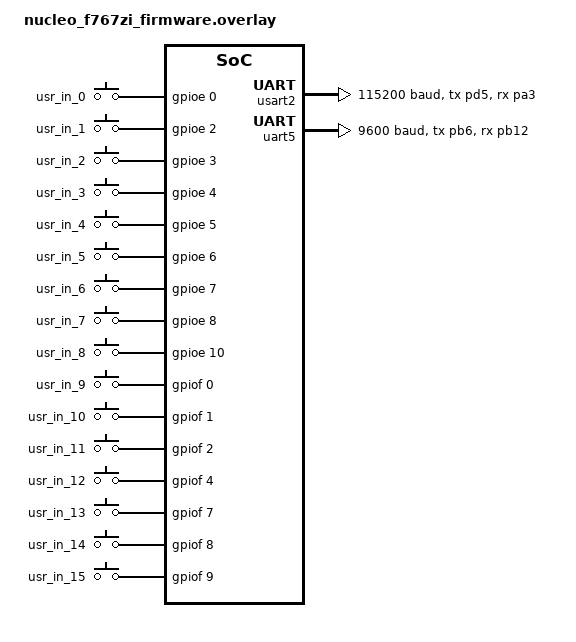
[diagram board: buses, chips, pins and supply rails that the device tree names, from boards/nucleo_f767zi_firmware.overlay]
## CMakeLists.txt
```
cmake_minimum_required(VERSION 3.20.0)

# Kconfig options
set(KCONFIG_ROOT "${CMAKE_CURRENT_SOURCE_DIR}/Kconfig")

# Device tree overlay file
set(DTC_OVERLAY_FILE "${CMAKE_CURRENT_SOURCE_DIR}/boards/nucleo_f767zi_firmware.overlay"
    "${CMAKE_CURRENT_SOURCE_DIR}/boards/nucleo_f767zi_ws2812_pwm.overlay")

# Declare project
find_package(Zephyr REQUIRED HINTS $ENV{ZEPHYR_BASE})
project(remote_io_zephyr)

target_include_directories(app PRIVATE 
    ${CMAKE_CURRENT_SOURCE_DIR}/src/inc
    ${CMAKE_CURRENT_SOURCE_DIR}/src/mender
    )

# Sources
zephyr_library_sources_ifdef(CONFIG_REMOTEIO_USE_MY_WS28XX
    src/ws28xx_pwm.c)
zephyr_library_sources_ifndef(CONFIG_REMOTEIO_USE_MY_WS28XX
    src/ws28xx_led.c)
file(GLOB_RECURSE app_sources src/*.c)
target_sources(app PRIVATE ${app_sources})

# Generate Root CA include files
# generate_inc_file_for_target(app "src/inc/AmazonRootCA1.cer" "${ZEPHYR_BINARY_DIR}/include/generated/AmazonRootCA1.cer.inc")
generate_inc_file_for_target(app "src/inc/Go-Daddy-Root-Certificate-Authority-G2.crt" "${ZEPHYR_BINARY_DIR}/include/generated/mender_server_ca.crt.inc")
generate_inc_file_for_target(app "src/inc/gts-root-r4.pem" "${ZEPHYR_BINARY_DIR}/include/generated/gts-root-r4.pem.inc")

if (CONFIG_MENDER_MCU_CLIENT)
    zephyr_library_compile_definitions(-D_POSIX_C_SOURCE=200809L)  # Required for strdup and strtok_r support
endif() # CONFIG_MENDER_MCU_CLIENT

# Generate cmake_config.h file with project-specific settings which can be included in the source code
configure_file(
    ${CMAKE_CURRENT_SOURCE_DIR}/src/inc/cmake_config.h.in
    ${ZEPHYR_BINARY_DIR}/include/generated/zephyr/cmake_config.h
)

# Generate build_artifact.sh from build_artifact.sh.in
configure_file(
    build_artifact.sh.in
    ${CMAKE_CURRENT_SOURCE_DIR}/build_artifact.sh
    @ONLY
)
```

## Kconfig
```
mainmenu "Remote I/O Config"

    config REMOTEIO_MINIMAL_STACK_SIZE
        int "Remote I/O minimal stack size"
        range 0 1024
        default 128
        help
            Minimal stack size for the Remote I/O task.
            This is the minimum stack size required for the task to run.
            The actual stack size may be larger depending on the task's requirements.
    
    config REMOTEIO_SERVICE_STACK_SIZE
        int "Remote I/O service stack size"
        range 0 2048
        default 256
        help
            Stack size for the Remote I/O service task.
            This is the stack size required for the task to run.
            The actual stack size may be larger depending on the task's requirements.

    config REMOTEIO_SERVICE_PRIORITY
        int "Remote I/O service task priority"
        default 7
        help
            Priority of the Remote I/O service task.
            The lower the number, the higher the priority.
            The actual priority may be affected by other tasks in the system.

    config REMOTEIO_USE_MY_WS28XX
        bool "Use my WS28XX"
        default n
        depends on LED_STRIP
        select USE_STM32_HAL_TIM
        select USE_STM32_HAL_GPIO
        select USE_STM32_HAL_DMA
        help
            Use my WS28XX library for controlling the WS28XX LED strip.
            If not selected, the default WS28XX library will be used.

    config REMOTEIO_MENDER_ARTIFACT_NAME
        string "define mender artifact name"
        default "remote-io"
        help
            Define the Mender Artifact name for Mender client to query for
            if there are any update regarding the specified artifact name.
        
source "Kconfig.zephyr"
rsource "src/mender/Kconfig"
```

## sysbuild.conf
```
# Sysbuild configuration file

SB_CONFIG_BOOTLOADER_MCUBOOT=y
```

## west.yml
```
manifest:
  projects:
    - name: mender-mcu
      url: https://github.com/mendersoftware/mender-mcu
      revision: main
      path: modules/mender-mcu
      import: true
    - name: ws2812-pwm
      url: https://github.com/haymanmk/ws2812-pwm.git
      revision: 5186892508e424ddec8d3359c0e99aadf89a0a91
      path: modules/ws2812-pwm
      import: true
```

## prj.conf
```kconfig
# Mender MCU client
CONFIG_MENDER_MCU_CLIENT=y
CONFIG_MENDER_DEPLOYMENT_LOGS=n
CONFIG_MENDER_SCHEDULER_WORK_QUEUE_STACK_SIZE=12
# Please note that the priority of Mender scheduler work queue should be lower (numerically higher) than
# the priority of socket service work queue, which is used to handle network events.
# Otherwise, the throughput of API calls may be significantly reduced.
CONFIG_MENDER_SCHEDULER_WORK_QUEUE_PRIORITY=7
CONFIG_MENDER_CLIENT_UPDATE_POLL_INTERVAL=3
CONFIG_MENDER_CLIENT_NO_DEPLOYMENT_MAX_COUNT=1
# Default Inventory refresh interval is 14 days.
CONFIG_MENDER_CLIENT_INVENTORY_REFRESH_INTERVAL=600
CONFIG_MENDER_RETRY_ERROR_BACKOFF=5
# CONFIG_MENDER_RETRY_ERROR_MAX_BACKOFF=15
CONFIG_MENDER_ARTIFACT_GENERATE=n
# CONFIG_MENDER_SERVER_TENANT_TOKEN="5T54LWieqKE4N24f5thlFlfsY1pNrIIlWlEYbrhoeog"
CONFIG_MENDER_SERVER_TENANT_TOKEN="BUFCZV-mnZEcVMzhSaueDpTIQCg1ZbD8W2huFCZpalo"
CONFIG_MENDER_PLATFORM_STORAGE_TYPE_WEAK=y
CONFIG_MENDER_SERVER_HOST_ON_PREM=y
CONFIG_MENDER_SERVER_HOST="https://pi-mender-stage.garmin.com"
# CONFIG_MENDER_SERVER_HOST="https://pek8s-staging.garmin.com"
CONFIG_USER_MENDER_ARTIFACT_NAME="mender-artifact"
CONFIG_LOG_OUTPUT_FORMAT_ISO8601_TIMESTAMP=y

# Required to get Device Troubleshoot add-on working
CONFIG_ZVFS_OPEN_MAX=18

# General
CONFIG_EVENTS=y
CONFIG_MAIN_STACK_SIZE=2048
# Heap memory pool is used for dynamic memory allocation such as dynamic threads
# CONFIG_HEAP_MEM_POOL_SIZE=5120
# CONFIG_SYSTEM_WORKQUEUE_STACK_SIZE=13312
CONFIG_PICOLIBC=y
CONFIG_GPIO=y
CONFIG_POSIX_API=y
CONFIG_REMOTEIO_SERVICE_STACK_SIZE=2048
CONFIG_REMOTEIO_SERVICE_PRIORITY=5
# Dynamic thread
# CONFIG_DYNAMIC_THREAD=y
# CONFIG_DYNAMIC_THREAD_POOL_SIZE=2
# CONFIG_DYNAMIC_THREAD_ALLOC=y

# Backup SRAM
# CONFIG_STM32_BACKUP_SRAM=y

# Networking
CONFIG_NETWORKING=y
CONFIG_NET_TCP=y
CONFIG_NET_IPV6=n
CONFIG_NET_IPV4=y
CONFIG_NET_DHCPV4=n
CONFIG_NET_SHELL=n
CONFIG_NET_MGMT=y
CONFIG_NET_MGMT_EVENT=y
CONFIG_NET_MGMT_EVENT_THREAD=y
CONFIG_NET_MGMT_EVENT_STACK_SIZE=2048
CONFIG_NET_SOCKETS_SOCKOPT_TLS=y
CONFIG_NET_SOCKETS_TLS_MAX_CONTEXTS=8
CONFIG_NET_SOCKETS_SERVICE_STACK_SIZE=2048
# The priority of socket service thread should be higher (numerically lower) than the priority of Mender scheduler work queue,
# which is used to handle Mender client state machine. Otherwise, the throughput of API calls may be significantly reduced.
CONFIG_NET_SOCKETS_SERVICE_THREAD_PRIO=6
CONFIG_NET_MAX_CONN=16
# enlarge RX stack size to avoid stack overflow during calling zsock_accept()
CONFIG_NET_RX_STACK_SIZE=2048
# CONFIG_NET_TX_STACK_SIZE=2400
CONFIG_NET_TCP_WORKQ_STACK_SIZE=2048
# CONFIG_NET_MAX_CONTEXTS=6
CONFIG_NET_SOCKETS_CONNECT_TIMEOUT=60000
# CONFIG_NET_TCP_RECV_QUEUE_TIMEOUT=2000
CONFIG_NET_TCP_KEEPALIVE=y

# Network buffer
CONFIG_NET_PKT_RX_COUNT=16
CONFIG_NET_PKT_TX_COUNT=16
CONFIG_NET_BUF_RX_COUNT=128
CONFIG_NET_BUF_TX_COUNT=128

# Sockets
CONFIG_NET_SOCKETS=y
CONFIG_ZVFS_POLL_MAX=9

# DNS
CONFIG_DNS_RESOLVER=y
CONFIG_DNS_RESOLVER_ADDITIONAL_BUF_CTR=5
CONFIG_DNS_RESOLVER_ADDITIONAL_QUERIES=2
CONFIG_DNS_RESOLVER_MAX_SERVERS=2
CONFIG_DNS_NUM_CONCUR_QUERIES=5
CONFIG_DNS_SERVER_IP_ADDRESSES=y
CONFIG_DNS_SERVER1="10.124.2.23"

# PSA - Platform Security Architecture
CONFIG_PSA_WANT_KEY_TYPE_ECC_PUBLIC_KEY=y
CONFIG_PSA_WANT_ALG_ECDH=y
CONFIG_PSA_WANT_ALG_ECDSA=y
CONFIG_PSA_WANT_KEY_TYPE_ECC_KEY_PAIR_IMPORT=y
CONFIG_PSA_WANT_KEY_TYPE_ECC_KEY_PAIR_EXPORT=y
CONFIG_PSA_WANT_KEY_TYPE_ECC_KEY_PAIR_GENERATE=y
CONFIG_PSA_WANT_KEY_TYPE_ECC_KEY_PAIR_DERIVE=y
# CONFIG_PSA_WANT_ALG_SHA_256=y
# CONFIG_PSA_WANT_ALG_SHA_384=y
CONFIG_PSA_WANT_KEY_TYPE_RSA_PUBLIC_KEY=y
CONFIG_PSA_WANT_ALG_RSA_PKCS1V15_SIGN=y
CONFIG_PSA_WANT_ALG_RSA_PKCS1V15_CRYPT=y

# mbedTLS
CONFIG_MBEDTLS=y
CONFIG_MBEDTLS_DEBUG=y
CONFIG_MBEDTLS_MEMORY_DEBUG=n
CONFIG_MBEDTLS_BUILTIN=y
CONFIG_MBEDTLS_ENABLE_HEAP=y
CONFIG_MBEDTLS_HEAP_SIZE=100000
# CONFIG_MBEDTLS_CFG_FILE="config-tls-generic.h"
CONFIG_MBEDTLS_ECDH_C=y
CONFIG_MBEDTLS_ECDSA_C=y
CONFIG_MBEDTLS_ECP_C=y
CONFIG_MBEDTLS_ECP_DP_SECP256R1_ENABLED=y
CONFIG_MBEDTLS_ECP_DP_SECP384R1_ENABLED=y
CONFIG_MBEDTLS_GENPRIME_ENABLED=y
CONFIG_MBEDTLS_CIPHER_AES_ENABLED=y
CONFIG_MBEDTLS_CIPHER_CCM_ENABLED=y
CONFIG_MBEDTLS_CIPHER_GCM_ENABLED=y
# CONFIG_MBEDTLS_SSL_TLS1_2_CAN_ECDH=y
# CONFIG_MBEDTLS_CAN_ECDH=y
# CONFIG_MBEDTLS_X509_CRT_PARSE_C=y
CONFIG_MBEDTLS_PKCS1_V15=y
CONFIG_MBEDTLS_RSA_C=y
# CONFIG_MBEDTLS_PSA_CRYPTO_C=y
CONFIG_MBEDTLS_USE_PSA_CRYPTO=y
CONFIG_PSA_WANT_ALG_TLS12_PRF=y
# CONFIG_MBEDTLS_PK_CAN_ECDSA_SIGN=y
# CONFIG_MBEDTLS_KEY_EXCHANGE_ALL_ENABLED=y
CONFIG_MBEDTLS_KEY_EXCHANGE_ECDHE_PSK_ENABLED=y
CONFIG_MBEDTLS_KEY_EXCHANGE_ECDHE_RSA_ENABLED=y
CONFIG_MBEDTLS_KEY_EXCHANGE_ECDHE_ECDSA_ENABLED=y
CONFIG_MBEDTLS_KEY_EXCHANGE_RSA_ENABLED=y
CONFIG_MBEDTLS_PEM_CERTIFICATE_FORMAT=y
CONFIG_MBEDTLS_PK_WRITE_C=y
CONFIG_MBEDTLS_SHA256=y
CONFIG_MBEDTLS_SHA384=y
CONFIG_MBEDTLS_ENTROPY_C=y
CONFIG_MBEDTLS_ENTROPY_POLL_ZEPHYR=y
CONFIG_MBEDTLS_SSL_MAX_CONTENT_LEN=16384
CONFIG_MBEDTLS_SERVER_NAME_INDICATION=y

# MCUboot
CONFIG_BOOTLOADER_MCUBOOT=y
CONFIG_MCUBOOT_SIGNATURE_KEY_FILE="bootloader/mcuboot/root-rsa-2048.pem"

# Logging
CONFIG_LOG=y
CONFIG_NET_LOG=y
CONFIG_NET_SOCKETS_LOG_LEVEL_DBG=n
CONFIG_NET_CONTEXT_LOG_LEVEL_DBG=n
CONFIG_NET_TCP_LOG_LEVEL_DBG=n
CONFIG_NET_HTTP_LOG_LEVEL_DBG=n
CONFIG_MBEDTLS_LOG_LEVEL_DBG=n
CONFIG_MENDER_LOG_LEVEL_DBG=y
CONFIG_LOG_MODE_IMMEDIATE=y
# CONFIG_LOG_PROCESS_THREAD_STACK_SIZE=2048
CONFIG_USE_SEGGER_RTT=y
CONFIG_RTT_CONSOLE=y
CONFIG_UART_CONSOLE=n
CONFIG_LOG_BACKEND_RTT=y
CONFIG_LOG_BACKEND_UART=n

# Debugging
CONFIG_DEBUG_OPTIMIZATIONS=y

# Thread
CONFIG_THREAD_MONITOR=y
CONFIG_THREAD_NAME=y
CONFIG_THREAD_ANALYZER=y
CONFIG_THREAD_ANALYZER_AUTO_SEPARATE_CORES=n

# Flash, Storage
CONFIG_FLASH=y
CONFIG_FLASH_MAP=y

# UART
CONFIG_SERIAL=y
CONFIG_UART_INTERRUPT_DRIVEN=y

# LED Strip
CONFIG_LED_STRIP=y
CONFIG_LED_STRIP_LOG_LEVEL_DBG=y
CONFIG_REMOTEIO_USE_MY_WS28XX=n
# CONFIG_WS2812_PWM=y

# DMA
CONFIG_WS2812_PWM_LOG_LEVEL_DBG=n

# Let's prevent surprises caused by type mismatches and other similar things
# only causing compilation warnings, but potentially leading to fatal issues.
CONFIG_COMPILER_WARNINGS_AS_ERRORS=y
```

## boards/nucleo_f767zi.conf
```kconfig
CONFIG_SPI_STM32_DMA=n
```

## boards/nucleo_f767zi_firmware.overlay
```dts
#include <zephyr/dt-bindings/input/input-event-codes.h>
#include <zephyr/dt-bindings/gpio/gpio.h>

/ {
    chosen {
        zephyr,code-partition = &slot0_partition;
    };

    user_inputs {
        compatible = "gpio-keys";
        usr_in_0: user_input_0 {
            gpios = <&gpioe 0 (GPIO_PULL_UP | GPIO_ACTIVE_HIGH)>;
        };
        usr_in_1: user_input_1 {
            gpios = <&gpioe 2 (GPIO_PULL_UP | GPIO_ACTIVE_HIGH)>;
        };
        usr_in_2: user_input_2 {
            gpios = <&gpioe 3 (GPIO_PULL_UP | GPIO_ACTIVE_HIGH)>;
        };
        usr_in_3: user_input_3 {
            gpios = <&gpioe 4 (GPIO_PULL_UP | GPIO_ACTIVE_HIGH)>;
        };
        usr_in_4: user_input_4 {
            gpios = <&gpioe 5 (GPIO_PULL_UP | GPIO_ACTIVE_HIGH)>;
        };
        usr_in_5: user_input_5 {
            gpios = <&gpioe 6 (GPIO_PULL_UP | GPIO_ACTIVE_HIGH)>;
        };
        usr_in_6: user_input_6 {
            gpios = <&gpioe 7 (GPIO_PULL_UP | GPIO_ACTIVE_HIGH)>;
        };
        usr_in_7: user_input_7 {
            gpios = <&gpioe 8 (GPIO_PULL_UP | GPIO_ACTIVE_HIGH)>;
        };
        usr_in_8: user_input_8 {
            gpios = <&gpioe 10 (GPIO_PULL_UP | GPIO_ACTIVE_HIGH)>;
        };
        usr_in_9: user_input_9 {
            gpios = <&gpiof 0 (GPIO_PULL_UP | GPIO_ACTIVE_HIGH)>;
        };
        usr_in_10: user_input_10 {
            gpios = <&gpiof 1 (GPIO_PULL_UP | GPIO_ACTIVE_HIGH)>;
        };
        usr_in_11: user_input_11 {
            gpios = <&gpiof 2 (GPIO_PULL_UP | GPIO_ACTIVE_HIGH)>;
        };
        usr_in_12: user_input_12 {
            gpios = <&gpiof 4 (GPIO_PULL_UP | GPIO_ACTIVE_HIGH)>;
        };
        usr_in_13: user_input_13 {
            gpios = <&gpiof 7 (GPIO_PULL_UP | GPIO_ACTIVE_HIGH)>;
        };
        usr_in_14: user_input_14 {
            gpios = <&gpiof 8 (GPIO_PULL_UP | GPIO_ACTIVE_HIGH)>;
        };
        usr_in_15: user_input_15 {
            gpios = <&gpiof 9 (GPIO_PULL_UP | GPIO_ACTIVE_HIGH)>;
        };
    };

    user_outputs {
        compatible = "gpio-outputs";
        usr_out_0: user_output_0 {
            gpios = <&gpioc 7 (GPIO_ACTIVE_HIGH | GPIO_OPEN_DRAIN)>;
        };
        usr_out_1: user_output_1 {
            gpios = <&gpioc 8 (GPIO_ACTIVE_HIGH | GPIO_OPEN_DRAIN)>;
        };
        usr_out_2: user_output_2 {
            gpios = <&gpioc 9 (GPIO_ACTIVE_HIGH | GPIO_OPEN_DRAIN)>;
        };
        usr_out_3: user_output_3 {
            gpios = <&gpioc 10 (GPIO_ACTIVE_HIGH | GPIO_OPEN_DRAIN)>;
        };
        usr_out_4: user_output_4 {
            gpios = <&gpioc 11 (GPIO_ACTIVE_HIGH | GPIO_OPEN_DRAIN)>;
        };
        usr_out_5: user_output_5 {
            gpios = <&gpioc 12 (GPIO_ACTIVE_HIGH | GPIO_OPEN_DRAIN)>;
        };
        usr_out_6: user_output_6 {
            gpios = <&gpiod 0 (GPIO_ACTIVE_HIGH | GPIO_OPEN_DRAIN)>;
        };
        usr_out_7: user_output_7 {
            gpios = <&gpiod 1 (GPIO_ACTIVE_HIGH | GPIO_OPEN_DRAIN)>;
        };
        usr_out_8: user_output_8 {
            gpios = <&gpiod 2 (GPIO_ACTIVE_HIGH | GPIO_OPEN_DRAIN)>;
        };
        usr_out_9: user_output_9 {
            gpios = <&gpiod 3 (GPIO_ACTIVE_HIGH | GPIO_OPEN_DRAIN)>;
        };
        usr_out_10: user_output_10 {
            gpios = <&gpiod 4 (GPIO_ACTIVE_HIGH | GPIO_OPEN_DRAIN)>;
        };
        usr_out_11: user_output_11 {
            gpios = <&gpiod 6 (GPIO_ACTIVE_HIGH | GPIO_OPEN_DRAIN)>;
        };
        usr_out_12: user_output_12 {
            gpios = <&gpiod 7 (GPIO_ACTIVE_HIGH | GPIO_OPEN_DRAIN)>;
        };
        usr_out_13: user_output_13 {
            gpios = <&gpiod 11 (GPIO_ACTIVE_HIGH | GPIO_OPEN_DRAIN)>;
        };
        usr_out_14: user_output_14 {
            gpios = <&gpiod 12 (GPIO_ACTIVE_HIGH | GPIO_OPEN_DRAIN)>;
        };
        usr_out_15: user_output_15 {
            gpios = <&gpiod 13 (GPIO_ACTIVE_HIGH | GPIO_OPEN_DRAIN)>;
        };
        usr_dbg: user_dbg {
            gpios = <&gpiob 8 (GPIO_ACTIVE_HIGH | GPIO_PUSH_PULL)>;
        };
    };
};

&flash0 {
    partitions {
        compatible = "fixed-partitions";

        storage_partition_0: partition@10000 {
            label = "storage-0";
            reg = <0x00010000 DT_SIZE_K(32)>;
        };

        storage_partition_1: partition@18000 {
            label = "storage-1";
            reg = <0x00018000 DT_SIZE_K(32)>;
        };
    };
};

/* uart */
&usart2 {
    pinctrl-0 = <&usart2_tx_pd5 &usart2_rx_pa3>;
    pinctrl-names = "default";
    current-speed = <115200>;
    /* interrupts = <37 5>; */
    status = "okay";
};

&uart5 {
    pinctrl-0 = <&uart5_tx_pb6 &uart5_rx_pb12>;
    pinctrl-names = "default";
    current-speed = <9600>;
    /* interrupts = <38 5>; */
    status = "okay";
};

/* Ethernet priority */
/* &mac {
    interrupts = < 0x3d 0x5 >;
}; */
```

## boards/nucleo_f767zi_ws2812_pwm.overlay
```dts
#include <zephyr/dt-bindings/led/led.h>
#include <zephyr/dt-bindings/pwm/pwm.h>
#include <zephyr/dt-bindings/dma/stm32_dma.h>

&dma1 {
    compatible = "st,stm32-dma-v1";
    status = "okay";
};

&tim3_ch1_pa6 {
    bias-pull-down;
};

&timers3 {
    status = "okay";
    pwm_tim3: pwm {
        pinctrl-0 = <&tim3_ch1_pa6>;
        pinctrl-names = "default";
        status = "okay";
    };
};

/ {
    led_strip: ws2812 {
        compatible = "worldsemi,ws2812-pwm";
        chain-length = <25>;
        color-mapping = <LED_COLOR_ID_GREEN
                        LED_COLOR_ID_RED
                        LED_COLOR_ID_BLUE>;
        dmas = <&dma1 4 5
                (STM32_DMA_MEMORY_TO_PERIPH | STM32_DMA_MEM_INC | STM32_DMA_PERIPH_32BITS | STM32_DMA_MEM_32BITS | STM32_DMA_PRIORITY_VERY_HIGH)
                STM32_DMA_FIFO_FULL>;
        dma-names = "tim3-dma";
        pwms = <&pwm_tim3 1 1250 (PWM_POLARITY_NORMAL)>;
        reset-delay = <50>;
        delay-t1h = <800>;
        delay-t1l = <450>;
        delay-t0h = <400>;
        delay-t0l = <850>;
    };
};
```

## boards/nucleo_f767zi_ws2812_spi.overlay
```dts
#include <zephyr/dt-bindings/led/led.h>

&spi1 {
    pinctrl-0 = <&spi1_sck_pa5 &spi1_miso_pa6 &spi1_mosi_pb5>;
};

&arduino_spi {
    led_strip: ws2812@0 {
        compatible = "worldsemi,ws2812-spi";

        /* SPI */
        reg = <0>;
        spi-max-frequency = <4000000>;
        frame-format = <32768>; /* SPI_FRAME_FORMAT_TI */

        /* WS2812 */
        chain-length = <25>;
        spi-one-frame = <0x70>;
        spi-zero-frame = <0x40>;
        reset-delay = <50>; /* microseconds */
        color-mapping = <LED_COLOR_ID_GREEN
                        LED_COLOR_ID_RED
                        LED_COLOR_ID_BLUE>;
    };
};
```

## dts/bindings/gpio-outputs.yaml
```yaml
description: |
  GPIO outputs are used to control devices such as LEDs, relays, and other
  peripherals. The GPIO output driver is responsible for configuring the GPIO
  pins as outputs and controlling their state (high or low).

  For example:
  / {
      user_outputs: gpio-outputs {
          compatible = "gpio-outputs";
          usr_output_0 {
              label = "LED1";
              gpios = <&gpio0 0 GPIO_ACTIVE_HIGH>;
          };
    };

compatible: "gpio-outputs"

child-binding:
  description: GPIO output child node
  properties:
    gpios:
      type: phandle-array
      required: true

    label:
      type: string
      description: Descriptive name of the GPIO output.
      default: "GPIO output"
```

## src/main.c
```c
#include <app_version.h>
#include <zephyr/logging/log.h>
#include <zephyr/logging/log_ctrl.h>
#include <zephyr/sys/reboot.h>
LOG_MODULE_REGISTER(main, LOG_LEVEL_DBG);

#include "ethernet_if.h"
#include "digital_input.h"
#include "digital_output.h"
#include "flash.h"
#include "settings.h"
#include "uart.h"
#ifndef CONFIG_REMOTEIO_USE_MY_WS28XX
    #include "ws28xx_led.h"
#else
    #include "ws28xx_pwm.h"
#endif

int main(void) {
    // print current version
    LOG_INF("RemoteIO STM32F7xx - Version: %s", APP_VERSION_EXTENDED_STRING);

    // initialize flash memory
    flash_init();

    // initialize settings
    settings_init();

    // initialize digital input
    digital_input_init();

    // initialize digital output
    digital_output_init();

    // initialize UART
    uart_init();

    // initialize WS28XX GPIO
    ws28xx_led_init();

    tcp_server_init();

    return 0;
}

/**
 * @brief Fetal error handler
 * @param reason Reason for the fatal error
 * @param esf    Exception context. May be NULL.
 * @return This function does not return
 */
void k_sys_fatal_error_handler(unsigned int reason, const struct arch_esf *esf) {
    LOG_ERR("Fatal error occurred! reason: %u, esf: %p", reason, esf);
    LOG_ERR("System will reboot now.");
    LOG_PANIC();
    sys_reboot(SYS_REBOOT_WARM);
    while (1) {
        /* Wait for reboot */
    }
}
```

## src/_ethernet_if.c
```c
#include <stdio.h>
#include "stm32f7xx_remote_io.h"

#define BUFFER_SIZE 512
#define CONNECTION_CREATED_MSK 1

extern NetworkInterface_t *pxSTM32Fxx_FillInterfaceDescriptor(BaseType_t xEMACIndex,
                                                              NetworkInterface_t *pxInterface);
void ethernetif_task(void *pvParameters);
static void prvCreateTCPServerSocketTasks(void *pvParameters);
static void prvProcessRxTask(void *pvParameters);
static void prvProcessTxTask(void *pvParameters);
static void prvBlinkLED(void *pvParameters);

NetworkInterface_t xInterfaces[1];
struct xNetworkEndPoint xEndPoints[1];
uint8_t socketShutdownTimeout = 0;
TaskHandle_t createServerSocketTaskHandle;
static TaskHandle_t processRxTaskHandle;
TaskHandle_t processTxTaskHandle;
extern TaskHandle_t apiTaskHandle;
static SemaphoreHandle_t connectionCreatedSemaphoreHandle;
SemaphoreHandle_t deleteTaskSemaphoreHandle;
static uint16_t listeningPort = 0;

void tcp_server_init()
{
    // create an one-time task to create the TCP server socket
    xTaskCreate(ethernetif_task, "EthernetIF", configMINIMAL_STACK_SIZE, NULL, tskIDLE_PRIORITY, NULL);
}

void ethernetif_task(void *pvParameters)
{
    /* Initialize Semaphore handler to protect the critical section of
       safely shutting down connection */
    connectionCreatedSemaphoreHandle = xSemaphoreCreateBinary();

    /* Initialise the interface descriptor for WinPCap for example. */
    pxSTM32Fxx_FillInterfaceDescriptor(0, &(xInterfaces[0]));

    uint8_t IPAddr[4] = {
        settings.ip_address_0,
        settings.ip_address_1,
        settings.ip_address_2,
        settings.ip_address_3};
    uint8_t GatewayAddr[4] = {
        settings.gateway_0,
        settings.gateway_1,
        settings.gateway_2,
        settings.gateway_3};
    uint8_t NetMask[4] = {
        settings.netmask_0,
        settings.netmask_1,
        settings.netmask_2,
        settings.netmask_3};
    listeningPort = LISTENING_PORT + settings.tcp_port;
    MACAddr[0] = settings.mac_address_0;
    MACAddr[1] = settings.mac_address_1;
    MACAddr[2] = settings.mac_address_2;
    MACAddr[3] = settings.mac_address_3;
    MACAddr[4] = settings.mac_address_4;
    MACAddr[5] = settings.mac_address_5;

    // check if USER Button is continuously pressed over 5 seconds,
    // then use the default IP address and port
    if (HAL_GPIO_ReadPin(USER_Btn_GPIO_Port, USER_Btn_Pin) == GPIO_PIN_SET)
    {
        // wait for 5 seconds
        vTaskDelay(pdMS_TO_TICKS(5000));

        // check if USER Button is still pressed
        if (HAL_GPIO_ReadPin(USER_Btn_GPIO_Port, USER_Btn_Pin) == GPIO_PIN_SET)
        {
            // use the default IP address and port
            IPAddr[0] = 172;
            IPAddr[1] = 16;
            IPAddr[2] = 0;
            IPAddr[3] = 10;

            GatewayAddr[0] = 172;
            GatewayAddr[1] = 16;
            GatewayAddr[2] = 0;
            GatewayAddr[3] = 1;

            NetMask[0] = 255;
            NetMask[1] = 240;
            NetMask[2] = 0;
            NetMask[3] = 0;

            listeningPort = LISTENING_PORT;

            // start the LED blinking task
            xTaskCreate(prvBlinkLED, "BlinkLED", configMINIMAL_STACK_SIZE, NULL, tskIDLE_PRIORITY, NULL);
        }
    }

    FreeRTOS_FillEndPoint(&(xInterfaces[0]), &(xEndPoints[0]), IPAddr,
                          NetMask, GatewayAddr, DNSAddr, MACAddr);
#if (ipconfigUSE_DHCP != 0)
    {
        /* End-point 0 wants to use DHCPv4. */
        xEndPoints[0].bits.bWantDHCP = pdTRUE;
    }
#endif /* ( ipconfigUSE_DHCP != 0 ) */

    /* Initialise the RTOS's TCP/IP stack.  The tasks that use the network
       are created in the vApplicationIPNetworkEventHook() hook function
       below.  The hook function is called when the network connects. */
    FreeRTOS_IPInit_Multi();

    // kill the task
    vTaskDelete(NULL);
}

/**
 * @brief  Initializes the ETH MSP.
 * @param  ethHandle: ETH handle
 * @retval None
 */

void HAL_ETH_MspInit(ETH_HandleTypeDef *ethHandle)
{
    GPIO_InitTypeDef GPIO_InitStruct = {0};
    if (ethHandle->Instance == ETH)
    {
        /* USER CODE BEGIN ETH_MspInit 0 */

        /* USER CODE END ETH_MspInit 0 */
        /* Enable Peripheral clock */
        __HAL_RCC_ETH_CLK_ENABLE();

        __HAL_RCC_GPIOC_CLK_ENABLE();
        __HAL_RCC_GPIOA_CLK_ENABLE();
        __HAL_RCC_GPIOB_CLK_ENABLE();
        __HAL_RCC_GPIOG_CLK_ENABLE();
        /**ETH GPIO Configuration
        PC1     ------> ETH_MDC
        PA1     ------> ETH_REF_CLK
        PA2     ------> ETH_MDIO
        PA7     ------> ETH_CRS_DV
        PC4     ------> ETH_RXD0
        PC5     ------> ETH_RXD1
        PB13     ------> ETH_TXD1
        PG11     ------> ETH_TX_EN
        PG13     ------> ETH_TXD0
        */
        GPIO_InitStruct.Pin = RMII_MDC_Pin | RMII_RXD0_Pin | RMII_RXD1_Pin;
        GPIO_InitStruct.Mode = GPIO_MODE_AF_PP;
        GPIO_InitStruct.Pull = GPIO_NOPULL;
        GPIO_InitStruct.Speed = GPIO_SPEED_FREQ_VERY_HIGH;
        GPIO_InitStruct.Alternate = GPIO_AF11_ETH;
        HAL_GPIO_Init(GPIOC, &GPIO_InitStruct);

        GPIO_InitStruct.Pin = RMII_REF_CLK_Pin | RMII_MDIO_Pin | RMII_CRS_DV_Pin;
        GPIO_InitStruct.Mode = GPIO_MODE_AF_PP;
        GPIO_InitStruct.Pull = GPIO_NOPULL;
        GPIO_InitStruct.Speed = GPIO_SPEED_FREQ_VERY_HIGH;
        GPIO_InitStruct.Alternate = GPIO_AF11_ETH;
        HAL_GPIO_Init(GPIOA, &GPIO_InitStruct);

        GPIO_InitStruct.Pin = RMII_TXD1_Pin;
        GPIO_InitStruct.Mode = GPIO_MODE_AF_PP;
        GPIO_InitStruct.Pull = GPIO_NOPULL;
        GPIO_InitStruct.Speed = GPIO_SPEED_FREQ_VERY_HIGH;
        GPIO_InitStruct.Alternate = GPIO_AF11_ETH;
        HAL_GPIO_Init(RMII_TXD1_GPIO_Port, &GPIO_InitStruct);

        GPIO_InitStruct.Pin = RMII_TX_EN_Pin | RMII_TXD0_Pin;
        GPIO_InitStruct.Mode = GPIO_MODE_AF_PP;
        GPIO_InitStruct.Pull = GPIO_NOPULL;
        GPIO_InitStruct.Speed = GPIO_SPEED_FREQ_VERY_HIGH;
        GPIO_InitStruct.Alternate = GPIO_AF11_ETH;
        HAL_GPIO_Init(GPIOG, &GPIO_InitStruct);

        /* ETH interrupt Init */
        HAL_NVIC_SetPriority(ETH_IRQn, 5, 0);
        HAL_NVIC_EnableIRQ(ETH_IRQn);
        HAL_NVIC_SetPriority(ETH_WKUP_IRQn, 5, 0);
        HAL_NVIC_EnableIRQ(ETH_WKUP_IRQn);

        /* USER CODE BEGIN ETH_MspInit 1 */

        /* USER CODE END ETH_MspInit 1 */
    }
}

void vApplicationIPNetworkEventHook_Multi(eIPCallbackEvent_t eNetworkEvent,
                                          struct xNetworkEndPoint *pxEndPoint)
{
    static BaseType_t xTasksAlreadyCreated = pdFALSE;

    /* Both eNetworkUp and eNetworkDown events can be processed here. */
    if (eNetworkEvent == eNetworkUp)
    {
        /* Create the tasks that use the TCP/IP stack if they have not already
        been created. */
        if (xTasksAlreadyCreated == pdFALSE)
        {
            /*
             * For convenience, tasks that use FreeRTOS-Plus-TCP can be created here
             * to ensure they are not created before the network is usable.
             */

            xTasksAlreadyCreated = pdTRUE;

            vStartSimpleTCPServerTasks(4 * configMINIMAL_STACK_SIZE, tskIDLE_PRIORITY);
        }
    }
    /* Print out the network configuration, which may have come from a DHCP
     * server. */
    // showEndPoint(pxEndPoint);
}

/* Called by FreeRTOS-Plus-TCP */
BaseType_t xApplicationGetRandomNumber(uint32_t *pulNumber)
{
    *pulNumber = HAL_GetTick();
    return pdTRUE;
}

uint32_t ulApplicationGetNextSequenceNumber(uint32_t ulSourceAddress,
                                            uint16_t usSourcePort,
                                            uint32_t ulDestinationAddress,
                                            uint16_t usDestinationPort)
{
    uint32_t pulNumber = 0;
    xApplicationGetRandomNumber(&pulNumber);
    return pulNumber;
}

/* Stores the stack size passed into vStartSimpleTCPServerTasks() so it can be
 * reused when the server listening task creates tasks to handle connections. */
static uint16_t usUsedStackSize = 0;

void vStartSimpleTCPServerTasks(uint16_t usStackSize, UBaseType_t uxPriority)
{
    xTaskCreate(prvCreateTCPServerSocketTasks, "TCPServerListener", usStackSize, NULL, uxPriority, &createServerSocketTaskHandle);

    /* Remember the requested stack size so it can be re-used by the server
     * listening task when it creates tasks to handle connections. */
    usUsedStackSize = usStackSize;
}

static void prvCreateTCPServerSocketTasks(void *pvParameters)
{
    struct freertos_sockaddr xClient, xBindAddress;
    Socket_t xListeningSocket, xConnectedSocket;
    socklen_t xSize = sizeof(xClient);
    static const TickType_t xReceiveTimeOut = portMAX_DELAY;
    const BaseType_t xBacklog = 1;

    /* Attempt to open the socket. */
    xListeningSocket = FreeRTOS_socket(FREERTOS_AF_INET4,    /* Or FREERTOS_AF_INET6 for IPv6. */
                                       FREERTOS_SOCK_STREAM, /* SOCK_STREAM for TCP. */
                                       FREERTOS_IPPROTO_TCP);

    /* Check the socket was created. */
    configASSERT(xListeningSocket != FREERTOS_INVALID_SOCKET);

    /* If FREERTOS_SO_RCVBUF or FREERTOS_SO_SNDBUF are to be used with
    FreeRTOS_setsockopt() to change the buffer sizes from their default then do
    it here!.  (see the FreeRTOS_setsockopt() documentation. */

    /* If ipconfigUSE_TCP_WIN is set to 1 and FREERTOS_SO_WIN_PROPERTIES is to
    be used with FreeRTOS_setsockopt() to change the sliding window size from
    its default then do it here! (see the FreeRTOS_setsockopt()
    documentation. */

    /* Set a time out so accept() will just wait for a connection. */
    FreeRTOS_setsockopt(xListeningSocket,
                        0,
                        FREERTOS_SO_RCVTIMEO,
                        &xReceiveTimeOut,
                        sizeof(xReceiveTimeOut));

    /* Set the listening port to 10000. */
    // xBindAddress.sin_address = (IP_Address_t)FreeRTOS_inet_addr_quick(0, 0, 0, 0);
    xBindAddress.sin_port = listeningPort;
    xBindAddress.sin_port = FreeRTOS_htons(xBindAddress.sin_port);
    xBindAddress.sin_family = FREERTOS_AF_INET;

    /* Bind the socket to the port that the client RTOS task will send to. */
    FreeRTOS_bind(xListeningSocket, &xBindAddress, sizeof(xBindAddress));

    /* Set the socket into a listening state so it can accept connections.
    The maximum number of simultaneous connections is limited to 20. */
    FreeRTOS_listen(xListeningSocket, xBacklog);

    for (;;)
    {
        if (xSocketValid(xListeningSocket) == pdTRUE)
        {
            /* Wait for incoming connections. */
            xConnectedSocket = FreeRTOS_accept(xListeningSocket, &xClient, &xSize);
            configASSERT(xConnectedSocket != FREERTOS_INVALID_SOCKET);

            /* Give semaphore a count to represent there is a connection that can be shut down. */
            xSemaphoreGive(connectionCreatedSemaphoreHandle);

            /* Spawn a RTOS task to handle the connection. */
            xTaskCreate(prvProcessRxTask,
                        "ProcessRxTask",
                        usUsedStackSize,
                        (void *)xConnectedSocket,
                        tskIDLE_PRIORITY,
                        &processRxTaskHandle);

            // Create the serial task which is an interface between the serial port and the ethernet
            xTaskCreate(prvProcessTxTask,
                        "SerialTask",
                        configMINIMAL_STACK_SIZE * 2,
                        (void *)xConnectedSocket,
                        tskIDLE_PRIORITY,
                        &processTxTaskHandle);

            // wait here until the connection is closed
            ulTaskNotifyTake(pdTRUE, portMAX_DELAY);

            // check if the task handle is valid
            if (processRxTaskHandle != NULL)
            {
                // delete the task
                vTaskDelete(processRxTaskHandle);
                processRxTaskHandle = NULL;
            }
            if (processTxTaskHandle != NULL)
            {
                // delete the task
                vTaskDelete(processTxTaskHandle);
                processTxTaskHandle = NULL;
            }

            // create binary semaphore to wait for idle task to delete the task
            deleteTaskSemaphoreHandle = xSemaphoreCreateBinary();

            if (deleteTaskSemaphoreHandle != NULL)
            {
                // wait for idle task to delete the task and free the memory
                xSemaphoreTake(deleteTaskSemaphoreHandle, portMAX_DELAY);
                // delete semaphore
                vSemaphoreDelete(deleteTaskSemaphoreHandle);
                deleteTaskSemaphoreHandle = NULL;
            }

            // clear notify value in case there is any task giving notification during the wait
            ulTaskNotifyValueClear(NULL, 0xffffffff);
        }
    }
}

void vTimeoutCallback(TimerHandle_t xTimer)
{
    socketShutdownTimeout = 1;
}

void safelyShutdownSocket(Socket_t xSocket)
{
    // beginning of critical section
    if (xSemaphoreTake(connectionCreatedSemaphoreHandle, pdMS_TO_TICKS(500)) == pdFALSE)
        return;

    vLoggingPrintf("Shutting down socket\n");
    // shutdown the socket
    FreeRTOS_shutdown(xSocket, FREERTOS_SHUT_RDWR);

    // Start a timeout watchdog to avoid blocking the task indefinitely
    socketShutdownTimeout = 0;
    TimerHandle_t xTimer = xTimerCreate("SocketShutdownTimer", pdMS_TO_TICKS(1000), pdFALSE, (void *)0, vTimeoutCallback);

    if (xTimer == NULL)
    {
        FreeRTOS_debug_printf(("Failed to create timer\n"));
    }

    // start timer
    if (xTimerStart(xTimer, 0) != pdPASS)
    {
        FreeRTOS_debug_printf(("Failed to start timer\n"));
    }

    while (FreeRTOS_recv(xSocket, NULL, 0, 0) >= 0 && !socketShutdownTimeout)
    {
        /* Wait for shutdown to complete.  If a receive block time is used then
        this delay will not be necessary as FreeRTOS_recv() will place the RTOS task
        into the Blocked state anyway. */
        vTaskDelay(pdMS_TO_TICKS(250));

        /* Note - real applications should implement a timeout here, not just
        loop forever. */
    }

    // reset timer
    if (xTimerReset(xTimer, 0) != pdPASS)
    {
        FreeRTOS_debug_printf(("Failed to reset timer\n"));
    }

    // delete timer; note: this step is important to avoid memory leak
    if (xTimerDelete(xTimer, 0) != pdPASS)
    {
        FreeRTOS_debug_printf(("Failed to delete timer\n"));
    }

    /* Shutdown is complete and the socket can be safely closed. */
    FreeRTOS_closesocket(xSocket);
    xSocket = NULL;

    vLoggingPrintf("Socket shutdown complete\n");

    // end of critical section
}

uint8_t isDigit(char c)
{
    return c >= '0' && c <= '9';
}

void prvProcessData(char *cRxedData, BaseType_t lBytesReceived, Socket_t xConnectedSocket)
{
    FreeRTOS_debug_printf(("Received data: %.*s\n", lBytesReceived, cRxedData));

    BaseType_t i = 0;

    for (; i < lBytesReceived; i++)
    {
        /**
         * Process the received data
         */
        // serial_rx_irq(cRxedData[i]);
    }
}

static void prvProcessRxTask(void *pvParameters)
{
    FreeRTOS_debug_printf(("Client connected\n"));

    Socket_t xSocket;
    static char cRxedData[BUFFER_SIZE];
    BaseType_t lBytesReceived;

    /* It is assumed the socket has already been created and connected before
    being passed into this RTOS task using the RTOS task's parameter. */
    xSocket = (Socket_t)pvParameters;

    // print welcome message
    FreeRTOS_send(xSocket, "Welcome to the server\r\n", sizeof("Welcome to the server\r\n"), 0);

    for (;;)
    {
        /* Receive another block of data into the cRxedData buffer. */
        lBytesReceived = FreeRTOS_recv(xSocket, &cRxedData, BUFFER_SIZE, 0);

        if (lBytesReceived > 0)
        {
            /* Data was received, process it here. */
            api_append_to_rx_ring_buffer(cRxedData, lBytesReceived);
            // give notification to the api task
            xTaskNotifyGive(apiTaskHandle);
        }
        else if (lBytesReceived == 0)
        {
            /* No data was received, but FreeRTOS_recv() did not return an error.
            Timeout? */
        }
        else
        {
            /* Error (maybe the connected socket already shut down the socket?).
            Attempt graceful shutdown. */
            FreeRTOS_debug_printf(("Error on receive\n"));
            break;
        }
    }

    /* The RTOS task will get here if an error is received on a read.  Ensure the
    socket has shut down (indicated by FreeRTOS_recv() returning a -pdFREERTOS_ERRNO_EINVAL
    error before closing the socket). */
    if (xSocket)
        safelyShutdownSocket(xSocket);

    /* reset serial function in GRBL */
    // serial_init();

    // clear task handle
    processRxTaskHandle = NULL;

    // notify server socket task to delete the task
    xTaskNotifyGive(createServerSocketTaskHandle);

    /* Must not drop off the end of the RTOS task - delete the RTOS task. */
    // delete current task
    vTaskDelete(NULL);
}

static void prvProcessTxTask(void *pvParameters)
{
    Socket_t xSocket = (Socket_t)pvParameters;
    char str[API_TX_BUFFER_SIZE] = {'\0'};
    uint8_t strIndex = 0;

    for (;;)
    {
        // Wait for a notification from serial task in serial.c of grbl
        ulTaskNotifyTake(pdFALSE, portMAX_DELAY); // decrement the notification count

        /**
         * TODO: Implement serial task
         * - check if ethernet is ready to send data
         * - concatenate the data to be sent until a newline character, '\n', is received
         */
        uint8_t chr = api_pop_tx_buffer();

        // concatenate the data to be sent until a newline character, '\n', is received
        str[strIndex] = chr;

        if (++strIndex >= sizeof(str))
        {
            FreeRTOS_debug_printf(("Buffer overflow\r\n"));
            strIndex = 0;
        }

        // Check if the character is a newline character
        if ((chr != '\r') && (chr != '\n'))
            continue;
        
        // Send the data
        BaseType_t bytesSent = FreeRTOS_send(xSocket, str, strIndex, 0);

        // Check if the data was sent successfully
        if (bytesSent > 0)
        {
            FreeRTOS_debug_printf(("Data sent: %s\r\n", str));
        }
        else if (bytesSent < 0)
        {
            FreeRTOS_debug_printf(("Failed to send data\r\n"));
            break;
        }

        // Clear the string buffer
        memset(str, '\0', sizeof(str));

        // Reset the string index
        strIndex = 0;
    }

    /**
     * The RTOS task will get here if an error is received on a read.
     * Ensure the socket has shut down before leaving the task.
     */
    if (xSocket)
        safelyShutdownSocket(xSocket);

    /* reset serial function in GRBL */
    // serial_init();

    // clear task handle
    processTxTaskHandle = NULL;

    // notify server socket task to delete the task
    xTaskNotifyGive(createServerSocketTaskHandle);

    // delete current task
    vTaskDelete(NULL);
}

void HAL_ETH_ErrorCallback(ETH_HandleTypeDef *heth)
{
    if ((heth->Instance->DMASR & ETH_DMA_FLAG_AIS) != 0)
    {
        /* clear interrupt flag */
        __HAL_ETH_DMA_CLEAR_FLAG(heth, ETH_DMA_FLAG_AIS);
        FreeRTOS_debug_printf(("ETH DMA Error: Abnormal interrupt summary\n"));
    }
}

static void prvBlinkLED(void *pvParameters)
{
    for (;;)
    {
        for (int i = 0; i < 3; i++)
        {
            // Turn on the LEDs, LD1 and LD2
            HAL_GPIO_WritePin(LD1_GPIO_Port, LD1_Pin, GPIO_PIN_SET);
            HAL_GPIO_WritePin(LD2_GPIO_Port, LD2_Pin, GPIO_PIN_SET);
            vTaskDelay(pdMS_TO_TICKS(200));

            // Turn off the LEDs, LD1 and LD2
            HAL_GPIO_WritePin(LD1_GPIO_Port, LD1_Pin, GPIO_PIN_RESET);
            HAL_GPIO_WritePin(LD2_GPIO_Port, LD2_Pin, GPIO_PIN_RESET);
            vTaskDelay(pdMS_TO_TICKS(300));
        }

        // Delay for 1.5 seconds
        vTaskDelay(pdMS_TO_TICKS(800));
    }
}
```

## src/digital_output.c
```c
#include <zephyr/kernel.h>
#include <zephyr/logging/log.h>
LOG_MODULE_REGISTER(digital_output, LOG_LEVEL_DBG);

#include <zephyr/devicetree.h>
#include <zephyr/drivers/gpio.h>
#include <zephyr/sys/util_macro.h>

#include "stm32f7xx_remote_io.h"
#include "digital_output.h"

#define GET_GPIO_SPEC(id, _) \
    static const struct gpio_dt_spec digital_output_##id = \
        GPIO_DT_SPEC_GET(DT_NODELABEL(usr_out_##id), gpios)
#define NOT_DEVICE_IS_READY(id, _)  !device_is_ready(digital_output_##id.port)
#define CONFIG_GPIO_AS_OUTPUT(id, _) gpio_pin_configure_dt(&digital_output_##id, GPIO_OUTPUT_ACTIVE) < 0
#define CASE_GPIO_SPEC(id, _) \
    case id: \
        return (struct gpio_dt_spec *)&digital_output_##id

// listify the GPIO spec
LISTIFY(DIGITAL_OUTPUT_MAX, GET_GPIO_SPEC, (;));

void digital_output_init()
{
    // check if GPIO is ready
    if (LISTIFY(DIGITAL_OUTPUT_MAX, NOT_DEVICE_IS_READY, (||)))
    {
        LOG_ERR("Digital output GPIO is not ready");
        return;
    }

    // configure the GPIO pins as output
    if (LISTIFY(DIGITAL_OUTPUT_MAX, CONFIG_GPIO_AS_OUTPUT, (||)))
    {
        LOG_ERR("Failed to configure digital output GPIO");
        return;
    }
}

// get gpio spec
struct gpio_dt_spec *digital_output_get_gpio_spec(uint8_t index)
{
    if (index < 0 || index >= DIGITAL_OUTPUT_MAX)
    {
        return NULL;
    }
    switch (index)
    {
        LISTIFY(DIGITAL_OUTPUT_MAX, CASE_GPIO_SPEC, (;));
        default: return NULL;
    }
}

// read data from digital output and update the state in the digital output instance
int digital_output_read(uint8_t index)
{
    int ret = gpio_pin_get_dt(digital_output_get_gpio_spec(index));
    if (ret < 0)
    {
        LOG_ERR("Failed to read digital output %d", index);
        return ret;
    }

    return ret; // 1/active, 0/inactive
}

// read all digital outputs
uint32_t digital_output_read_all()
{
    uint32_t data = 0;
    int ret = 0;
    for (uint8_t i = 0; i < DIGITAL_OUTPUT_MAX; i++)
    {
        ret = digital_output_read(i);
        if (ret < 0)
        {
            LOG_ERR("Failed to read digital output %d", i);
            return (uint32_t)ret;
        }
        data |= (ret << (i));
    }
    return data;
}

// write data to digital output
int digital_output_write(uint8_t index, bool state)
{
    if (index < 0 || index >= DIGITAL_OUTPUT_MAX)
    {
        LOG_ERR("Invalid digital output index %d", index);
        return -1;
    }

    // write the state to the GPIO pin
    return gpio_pin_set_dt(digital_output_get_gpio_spec(index), state);
}

// write data to digital outputs
int digital_output_write_multiple(uint32_t data, uint8_t start_index, uint8_t length)
{
    int ret = 0;

    for (uint8_t i = 0; i < length; i++)
    {
        if ((ret = digital_output_write(start_index + i, (data >> i) & 0x01)) < 0)
        {
            LOG_ERR("Failed to write digital output %d", start_index + i);
            return ret;
        }
    }

    return ret;
}
```

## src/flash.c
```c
#include <zephyr/kernel.h>
#include <zephyr/storage/flash_map.h>
#include <zephyr/sys/util_macro.h>
#include <zephyr/logging/log.h>
LOG_MODULE_REGISTER(flash_storage, LOG_LEVEL_DBG);

#include "stm32f7xx_remote_io.h"
#include "flash.h"

#define NUM_FLASH_AREAS 1 // Number of flash areas to bring up

/**
 * @brief The label for the flash area can be found in the device tree.
 */
// storage partition id
#define STORAGE_PARTITION_0_ID FIXED_PARTITION_ID(storage_partition_0)
// #define STORAGE_PARTITION_1_ID FIXED_PARTITION_ID(storage_partition_1)

/* Private function prototypes */
io_status_t flash_erase_sector(const struct flash_area *sector);

/* Variables */
// create a event to signal when the flash area is ready
K_EVENT_DEFINE(flashAreaReadyEvent);

// flash device reference - storage partition
const struct flash_area *storage_0 = NULL;
// const struct flash_area *storage_1 = NULL;

// used by listify
#define __BRING_UP_FLASH_AREA(id, _) \
    if (flash_area_open(STORAGE_PARTITION_##id##_ID, &storage_##id) != 0) \
    { \
        LOG_ERR("Failed to open flash area %d", id); \
        return STATUS_ERROR; \
    } \
    if (!flash_area_device_is_ready(storage_##id)) \
    { \
        LOG_ERR("Flash area %d device is not ready", id); \
        flash_area_close(storage_##id); \
        return STATUS_ERROR; \
    }
#define BRING_UP_FLASH_AREA(N) \
    do { \
        LISTIFY(N, __BRING_UP_FLASH_AREA, ( )) \
    } while (0)

// initialize the flash device
io_status_t flash_init(void)
{
    // // get the flash area
    // if (flash_area_open(STORAGE_PARTITION_ID, &storage_partition) != 0)
    // {
    //     LOG_ERR("Failed to open flash area");
    //     return STATUS_ERROR; // failed to open flash area
    // }

    // // check if the device is ready
    // if (!flash_area_device_is_ready(storage_partition))
    // {
    //     LOG_ERR("Flash area device is not ready");
    //     flash_area_close(storage_partition);
    //     return STATUS_ERROR; // flash area device is not ready
    // }
    BRING_UP_FLASH_AREA(NUM_FLASH_AREAS);

    // signal that the flash area is ready
    k_event_post(&flashAreaReadyEvent, FLASH_AREA_READY_EVENT);

    return STATUS_OK; // flash area device is ready
}

io_status_t flash_erase_sector(const struct flash_area *sector)
{
    int ret = 0;

    if (sector == NULL)
    {
        LOG_ERR("Flash area is NULL");
        return STATUS_ERROR; // invalid flash area
    }

    if ((ret = flash_area_erase(sector, 0, sector->fa_size)) < 0)
    {
        LOG_ERR("Failed to erase flash area %d: %d", sector->fa_id, ret);
        return STATUS_ERROR; // failed to erase flash area
    }

    return STATUS_OK; // flash area erased successfully
}

/**
 * @brief Write data to flash memory with checksum
 * @param sector The flash area to write data to
 * @param data The data to write
 * @param length The length of the data
 * @return STATUS_OK if the write is successful, otherwise STATUS_ERROR
 */
io_status_t flash_write_data_with_checksum(const struct flash_area *sector, uint8_t *data, size_t length)
{
    // earase the sector before writing data
    if (flash_erase_sector(sector) < 0)
    {
        LOG_ERR("Failed to erase flash area %d", sector->fa_id);
        return STATUS_ERROR; // failed to erase flash area
    }

    // compute checksum
    uint8_t checksum = 0;
    uint8_t *_data = data;
    uint8_t len = length;
    for (; len > 0; len--)
    {
        checksum = (checksum << 1) | (checksum >> 7);
        checksum += *_data;
        _data++;
    }
    if (flash_area_write(sector, 0, data, length) < 0)
    {
        LOG_ERR("Failed to write flash area %d", sector->fa_id);
        return STATUS_ERROR; // failed to write flash area
    }
    // write checksum to the last byte of the sector
    if (flash_area_write(sector, length, &checksum, sizeof(checksum)) < 0)
    {
        LOG_ERR("Failed to write checksum to flash area %d", sector->fa_id);
        return STATUS_ERROR; // failed to write checksum
    }

    return STATUS_OK;
}

/**
 * @brief Read data from flash memory with checksum
 * @param address The address to read data from
 * @param data The buffer to store the data
 * @param length The length of the data
 * @return STATUS_OK if the checksum is correct, otherwise STATUS_ERROR
 */
io_status_t flash_read_data_with_checksum(const struct flash_area *sector, uint8_t *data, size_t length)
{
    // read data from flash memory
    if (flash_area_read(sector, 0, data, length) < 0)
    {
        LOG_ERR("Failed to read flash area %d", sector->fa_id);
        return STATUS_ERROR; // failed to read flash area
    }
    // compute checksum
    uint8_t checksum = 0;
    uint8_t *_data = data;
    uint8_t len = length;
    for (; len > 0; len--)
    {
        checksum = (checksum << 1) | (checksum >> 7);
        checksum += *_data;
        _data++;
    }
    // read checksum from the last byte of the sector
    uint8_t checksum_from_flash = 0;
    if (flash_area_read(sector, length, &checksum_from_flash, sizeof(checksum_from_flash)) < 0)
    {
        LOG_ERR("Failed to read checksum from flash area %d", sector->fa_id);
        return STATUS_ERROR; // failed to read checksum
    }
    return (checksum == checksum_from_flash) ? STATUS_OK : STATUS_ERROR;
}
```
